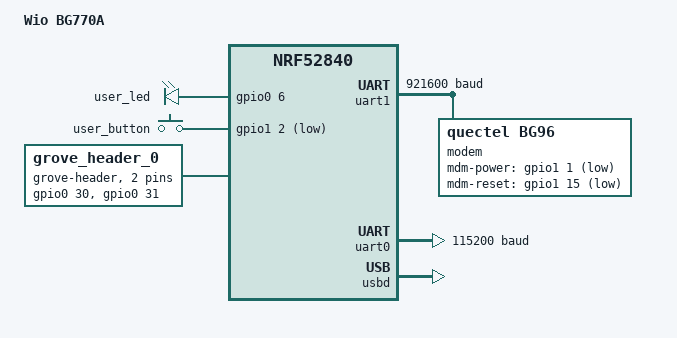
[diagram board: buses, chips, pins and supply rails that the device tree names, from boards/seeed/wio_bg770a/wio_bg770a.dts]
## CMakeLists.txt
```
#
# Copyright (c) 2018 Nordic Semiconductor
#
# SPDX-License-Identifier: LicenseRef-Nordic-5-Clause
#
cmake_minimum_required(VERSION 3.20.0)

# RFT: pick up application-local board definitions (e.g. seeed/wio_bg770a)
# AND the shared apps/v2/boards/ (e.g. rft/rft_pcb_v1_1 for running the
# receiver firmware on a tracker PCB) in addition to the ones shipped with
# Zephyr / NCS.
list(APPEND BOARD_ROOT ${CMAKE_CURRENT_SOURCE_DIR})
list(APPEND BOARD_ROOT ${CMAKE_CURRENT_SOURCE_DIR}/..)

find_package(Zephyr REQUIRED HINTS $ENV{ZEPHYR_BASE})
project(NONE)

FILE(GLOB_RECURSE app_sources src/*.c)
# NORDIC SDK APP START
target_sources(app PRIVATE ${app_sources})
# NORDIC SDK APP END

target_include_directories(app PRIVATE src)

# Force recompile for updated build timestamp
add_custom_target(touch_util_h ALL
    COMMAND ${CMAKE_COMMAND} -E touch ${CMAKE_SOURCE_DIR}/src/build_defines.h
)
```

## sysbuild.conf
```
# Sysbuild config for running the RECEIVER firmware on a tracker PCB
# (rft_pcb_v1_1). The tracker board already has MCUboot installed from a
# previous tracker firmware flash, so this build produces the matching
# `app_update.bin` so we can USB-update it in place via `update.command`
# without opening the case for SWD.
SB_CONFIG_BOOTLOADER_MCUBOOT=y
```

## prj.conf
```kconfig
#CONFIG_NCS_SAMPLES_DEFAULTS
CONFIG_ASSERT=y
CONFIG_ASSERT_NO_COND_INFO=y
CONFIG_ASSERT_NO_MSG_INFO=y
CONFIG_RESET_ON_FATAL_ERROR=y

CONFIG_NCS_APPLICATION_BOOT_BANNER_STRING="SlimeVR-Tracker-nRF-Receiver"
#CONFIG_NCS_BOOT_BANNER=n
CONFIG_BOOT_BANNER=n

CONFIG_ESB=y
CONFIG_NEWLIB_LIBC=y
CONFIG_CBPRINTF_FP_SUPPORT=y

CONFIG_FPU=y

CONFIG_USB_DEVICE_STACK=y
# NCS 3.3.0 enables USB_DEVICE_STACK_NEXT by default which collides with the
# legacy USB_DEVICE_STACK — explicitly disable the new stack.
CONFIG_USB_DEVICE_STACK_NEXT=n
CONFIG_USB_DEVICE_HID=y
CONFIG_USB_DEVICE_VID=0x1209
CONFIG_USB_DEVICE_PID=0x7690
CONFIG_USB_HID_BOOT_PROTOCOL=y
CONFIG_USB_DEVICE_INITIALIZE_AT_BOOT=n
CONFIG_USB_CDC_ACM=y
CONFIG_UART_INTERRUPT_DRIVEN=y
#CONFIG_USB_WORKQUEUE_STACK_SIZE=512

CONFIG_SERIAL=y
CONFIG_CONSOLE=y
CONFIG_UART_CONSOLE=y
CONFIG_UART_LINE_CTRL=y

CONFIG_USE_SEGGER_RTT=y
CONFIG_LOG=y
#CONFIG_PRINTK=y
CONFIG_LOG_MODE_DEFERRED=y
CONFIG_LOG_SPEED=y
CONFIG_LOG_BACKEND_RTT=y
CONFIG_USB_DRIVER_LOG_LEVEL_WRN=y
CONFIG_USB_DEVICE_LOG_LEVEL_WRN=y
CONFIG_USB_CDC_ACM_LOG_LEVEL_OFF=y
CONFIG_LOG_PROCESS_THREAD_SLEEP_MS=100
CONFIG_LOG_PROCESS_THREAD_STACK_SIZE=1024
CONFIG_LOG_PROCESS_THREAD_STARTUP_DELAY_MS=0

CONFIG_LOG_BACKEND_UART=y
CONFIG_LOG_MODE_DEFERRED=y

CONFIG_CONSOLE_SUBSYS=y
CONFIG_CONSOLE_GETLINE=y

CONFIG_NVS_LOG_LEVEL_WRN=y
CONFIG_USB_HID_LOG_LEVEL_WRN=y

CONFIG_USB_DEVICE_SOF=y
CONFIG_USB_HID_REPORTS=256

CONFIG_USB_HID_POLL_INTERVAL_MS=1
CONFIG_HID_INTERRUPT_EP_MPS=64
CONFIG_ENABLE_HID_INT_OUT_EP=y

CONFIG_GPIO=y
CONFIG_PWM=y

CONFIG_NVS=y

CONFIG_FLASH=y
CONFIG_FLASH_PAGE_LAYOUT=y
CONFIG_FLASH_MAP=y

CONFIG_SETTINGS=y
CONFIG_SETTINGS_NVS=y
CONFIG_SETTINGS_RUNTIME=y
CONFIG_SETTINGS_NONE=y

CONFIG_MPU_ALLOW_FLASH_WRITE=y

CONFIG_NVS_LOOKUP_CACHE=y

CONFIG_ESB_TX_FIFO_SIZE=1
# RFT: timer1 drives the periodic ESB sync (every ~3ms). Enabled via DT
# overlay (boards/xiao_ble.overlay → &timer1 { status = "okay"; }) — there
# is no NRFX_TIMER1 Kconfig in this NCS version.

#speed up boot? (use internal rc oscillator)
#CONFIG_CLOCK_CONTROL_NRF_K32SRC_RC=y
#speed up boot? (synthesize lf clock)
CONFIG_CLOCK_CONTROL_NRF_K32SRC_SYNTH=y

# dont need it
CONFIG_CRYPTO=n

CONFIG_THREAD_NAME=y
#CONFIG_SYSTEM_WORKQUEUE_STACK_SIZE=256
CONFIG_MAIN_STACK_SIZE=512

#CONFIG_HEAP_MEM_POOL_SIZE=2048
CONFIG_ISR_STACK_SIZE=1024
```

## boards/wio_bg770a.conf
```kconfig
# RFT: Wio BG770A board overrides for firmware-receiver.
#
# This board has TWO output paths for tracker packets:
#   1. USB HID composite device (SlimeVR-compatible) → Deck via hidapi.
#   2. LTE-M MQTT publish via BG770A-GL → Deck via tcxMQTT.
# Pick at runtime with the `modem on|off` console command.
# CDC ACM stays on for console / log during bench debugging regardless.

CONFIG_USB_DEVICE_MANUFACTURER="Seeed Studio"
CONFIG_USB_DEVICE_PRODUCT="RideFormTracker Receiver (Wio)"

# Inherit CONFIG_USB_DEVICE_HID=y from prj.conf — the HID forwarder is
# the modem-bypass measurement path. With USB CDC also enabled the device
# enumerates as a composite (HID + CDC ACM).

# RFT: Wio BG770A boot bisect (2026-05-11) — with CONFIG_ASSERT=y enabled
# on Wio (matsujirushi fork board defs), some internal __ASSERT fires
# before USB CDC enumerates, so we can't even see the message. Turn
# asserts off here; revisit once an SWD/RTT path is available.
CONFIG_ASSERT=n

# UART driver to BG770A-GL modem (uart1 is enabled by board DTS). The
# modem driver in src/connection/modem.c uses the async API. Without the
# explicit `CONFIG_UART_1_INTERRUPT_DRIVEN=n`, prj.conf's global
# CONFIG_UART_INTERRUPT_DRIVEN=y wins on the per-instance Kconfig and
# uart_callback_set() returns -ENOTSUP (-88).
CONFIG_UART_ASYNC_API=y
CONFIG_UART_1_INTERRUPT_DRIVEN=n
CONFIG_UART_1_ASYNC=y
# Allow runtime baud-rate changes on uart1. Needed for the auto-bootstrap
# that drops to 115200 (BG770A factory default) when a fresh modem doesn't
# answer at 921600, sets AT+IPR=921600;&W, and switches back. Without this
# uart_configure() returns -ENOSYS.
CONFIG_UART_USE_RUNTIME_CONFIGURE=y
```

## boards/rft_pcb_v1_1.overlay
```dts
/* RFT: second CDC ACM instance dedicated to packet forwarding (16-byte
 * SlimeVR HID-shape frames, back-to-back). The first instance is
 * cdc_acm_uart0 declared in the board DTS. Android hosts read packets
 * from this second endpoint (usb-serial-for-android — no clean USB HID
 * class path without root). Matches xiao_ble.overlay's cdc_acm_fwd node.
 */
&zephyr_udc0 {
	cdc_acm_fwd: cdc_acm_fwd {
		compatible = "zephyr,cdc-acm-uart";
	};
};
```

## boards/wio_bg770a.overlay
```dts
/*
 * RFT: Wio BG770A application overlay.
 *
 * - Disable Zephyr modem subsystem binding on uart1; we drive AT directly
 *   from src/connection/modem.c. Keeps uart1 itself enabled with HW flow
 *   control to BG770A-GL.
 * - Enable timer1 for the periodic ESB sync (esb.c).
 * - LED is via the board's `led0` GPIO alias; no PWM color LED on this
 *   board, so we only define `led-gpios` mirror for the led module's
 *   `zephyr,user` lookup path.
 */

&modem {
	status = "disabled";
};

&timer1 {
	status = "okay";
};

/ {
	zephyr,user {
		led-gpios = <&gpio0 6 GPIO_ACTIVE_HIGH>;

		/* RFT modem control lines, originally exposed by the disabled
		 * `&modem` node above. We drive AT directly so they live on
		 * zephyr,user instead of a Zephyr-modem-driver binding. */
		modem-power-gpios = <&gpio1 1 (GPIO_ACTIVE_LOW | GPIO_OPEN_DRAIN)>;
		modem-reset-gpios = <&gpio1 15 (GPIO_ACTIVE_LOW | GPIO_OPEN_DRAIN)>;
	};
};

&cryptocell {
	status = "disabled";
};

&nfct {
	status = "disabled";
};
```

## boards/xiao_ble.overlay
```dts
&pwm0_default {
	group1 {
		psels = <NRF_PSEL(PWM_OUT0, 0, 26)>,
			<NRF_PSEL(PWM_OUT1, 0, 30)>,
			<NRF_PSEL(PWM_OUT2, 0, 6)>;
		nordic,drive-mode = <NRF_DRIVE_D0S1>;
		nordic,invert;
	};
};

&pwm0_sleep {
	group1 {
		psels = <NRF_PSEL(PWM_OUT0, 0, 26)>,
			<NRF_PSEL(PWM_OUT1, 0, 30)>,
			<NRF_PSEL(PWM_OUT2, 0, 6)>;
	};
};

/ {
	pwmleds {
		pwm_led0: pwm_led_0 {
			pwms = <&pwm0 0 PWM_MSEC(1) PWM_POLARITY_INVERTED>;
		};
		pwm_led1: pwm_led_1 {
			pwms = <&pwm0 1 PWM_MSEC(1) PWM_POLARITY_INVERTED>;
		};
		pwm_led2: pwm_led_2 {
			pwms = <&pwm0 2 PWM_MSEC(1) PWM_POLARITY_INVERTED>;
		};
	};

	aliases {
		pwm-led1 = &pwm_led1;
		pwm-led2 = &pwm_led2;
	};

	zephyr,user {
		led-gpios = <&gpio0 17 (GPIO_OPEN_DRAIN|GPIO_ACTIVE_LOW)>;
	};

};

&cryptocell {
	status = "disabled";
};

&nfct {
	status = "disabled";
};

/* RFT: second CDC ACM instance dedicated to packet forwarding (16-byte
 * SlimeVR HID-shape frames, back-to-back). The first instance (console)
 * is provided by zephyr's cdc_acm_serial.dtsi as `board_cdc_acm_uart`.
 * Android hosts can read packets via usb-serial-for-android — there is
 * no clean USB HID class path without root. */
&zephyr_udc0 {
	cdc_acm_fwd: cdc_acm_fwd {
		compatible = "zephyr,cdc-acm-uart";
	};
};
```

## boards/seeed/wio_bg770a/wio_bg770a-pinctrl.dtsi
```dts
/*
 * Copyright (c) Seeed K.K.
 * SPDX-License-Identifier: Apache-2.0
 */

&pinctrl {
	uart1_default: uart1_default {
		group0 {
			psels = <NRF_PSEL(UART_RX, 0, 24)>,
				<NRF_PSEL(UART_TX, 0, 25)>,
				<NRF_PSEL(UART_CTS, 1, 26)>,
				<NRF_PSEL(UART_RTS, 0, 27)>;
		};
	};

	uart1_sleep: uart1_sleep {
		group0 {
			psels = <NRF_PSEL(UART_RX, 0, 24)>,
				<NRF_PSEL(UART_TX, 0, 25)>,
				<NRF_PSEL(UART_CTS, 1, 26)>,
				<NRF_PSEL(UART_RTS, 0, 27)>;

			low-power-enable;
		};
	};

	uart0_default: uart0_default {
		group0 {
			psels = <NRF_PSEL(UART_RX, 0, 13)>,
				<NRF_PSEL(UART_TX, 0, 14)>;
		};
	};

	uart0_sleep: uart0_sleep {
		group0 {
			psels = <NRF_PSEL(UART_RX, 0, 13)>,
				<NRF_PSEL(UART_TX, 0, 14)>;

			low-power-enable;
		};
	};
};
```

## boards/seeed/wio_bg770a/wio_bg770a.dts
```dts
/*
 * Copyright (c) Seeed K.K.
 * SPDX-License-Identifier: Apache-2.0
 */

/dts-v1/;
#include <nordic/nrf52840_qiaa.dtsi>
// RFT: partition dtsi is not in NCS sdk-zephyr; bundled alongside the board
// definition to avoid editing the upstream tree.
#include "nrf52840_partition_uf2_sdv7.dtsi"
#include "wio_bg770a-pinctrl.dtsi"

/ {
	model = "Wio BG770A";
	compatible = "seeed,wio-bg770a";

	aliases {
		led0 = &user_led;
		sw0 = &user_button;

		user-led = &user_led;
		user-button = &user_button;
	};

	leds {
		compatible = "gpio-leds";

		user_led: led0 {
			gpios = <&gpio0 6 GPIO_ACTIVE_HIGH>;
		};
	};

	buttons {
		compatible = "gpio-keys";

		user_button: button0 {
			gpios = <&gpio1 2 (GPIO_ACTIVE_LOW | GPIO_PULL_UP)>;
			zephyr,code = <INPUT_KEY_0>;
		};
	};
};

/ {
	grove_header_0: grove_header_0 {
		compatible = "grove-header";
		#gpio-cells = <2>;
		gpio-map-mask = <0xffffffff 0xffffff80>;
		gpio-map-pass-thru = <0 0x7f>;
		gpio-map = <0 0 &gpio0 30 0>,	/* D30 */
			   <1 0 &gpio0 31 0>;	/* D31 */
	};
};

&gpiote {
	status = "okay";
};

&gpio0 {
	status = "okay";
};

&gpio1 {
	status = "okay";
};

&uart1 {
	compatible = "nordic,nrf-uarte";
	status = "okay";
	/* 921600 with HW flow control: 8x the factory default, keeps headroom for
	 * batched MQTT publishes at higher tracker rates so the modem thread
	 * isn't blocked on UART when ESB busy-period steals CPU. The modem boots
	 * at 115200 from factory; firmware auto-detects and writes
	 * AT+IPR=921600;&W on first contact to make it stick. */
	current-speed = <921600>;
	hw-flow-control;
	pinctrl-0 = <&uart1_default>;
	pinctrl-1 = <&uart1_sleep>;
	pinctrl-names = "default", "sleep";

	modem: bg770a {
		compatible = "quectel,bg96";
		status = "okay";
		mdm-power-gpios = <&gpio1 1 (GPIO_ACTIVE_LOW | GPIO_OPEN_DRAIN)>;
		mdm-reset-gpios = <&gpio1 15 (GPIO_ACTIVE_LOW | GPIO_OPEN_DRAIN)>;
	};
};

grove_uart: &uart0 {
	compatible = "nordic,nrf-uarte";
	status = "okay";
	current-speed = <115200>;
	pinctrl-0 = <&uart0_default>;
	pinctrl-1 = <&uart0_sleep>;
	pinctrl-names = "default", "sleep";
};

zephyr_udc0: &usbd {
	compatible = "nordic,nrf-usbd";
	status = "okay";
};

#include <../boards/common/usb/cdc_acm_serial.dtsi>
```

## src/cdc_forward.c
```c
/*
 * RFT: CDC ACM packet forwarder.
 *
 * Streams the same 16-byte SlimeVR HID-shape packets that go to the USB
 * HID interface out a dedicated CDC ACM endpoint, back-to-back, with no
 * framing or length prefix. Lets an Android host read packets via
 * usb-serial-for-android — Android's USB host API has no clean HID class
 * driver path without root.
 *
 * Build-time gate: requires a DT node labelled `cdc_acm_fwd` of type
 * zephyr,cdc-acm-uart (see boards/xiao_ble.overlay). If the current
 * board overlay does not define it, this file compiles to stubs.
 *
 * SPDX-License-Identifier: MIT
 */

#include "globals.h"
#include "cdc_forward.h"

#define CDC_FORWARD_NODE DT_NODELABEL(cdc_acm_fwd)

#if DT_NODE_HAS_STATUS(CDC_FORWARD_NODE, okay)

#include <zephyr/kernel.h>
#include <zephyr/device.h>
#include <zephyr/drivers/uart.h>
#include <zephyr/sys/atomic.h>
#include <zephyr/sys/ring_buffer.h>

#include "system/system.h"

LOG_MODULE_REGISTER(cdc_fwd, LOG_LEVEL_INF);

/* NVS slot — high number, well clear of modem.h MDM_NVS_BASE (260..266). */
#define CDC_FWD_NVS_ENABLE  280

/* Stored encoding: 0=uninitialised (treat as default-on), 1=on, 2=off.
 * Keeps default-ON behaviour without paying the cost of writing on first
 * boot. */
#define CDC_FWD_STORED_ON   1
#define CDC_FWD_STORED_OFF  2

#define RING_BYTES  (16 * 64)  /* 64 frames of headroom */

RING_BUF_DECLARE(cdc_fwd_rb, RING_BYTES);

static const struct device *cdc_fwd_dev;
static atomic_t cdc_fwd_enabled = ATOMIC_INIT(1); /* default ON */
static atomic_t cdc_fwd_dtr     = ATOMIC_INIT(0);

static void cdc_fwd_uart_isr(const struct device *dev, void *user_data)
{
	ARG_UNUSED(user_data);

	while (uart_irq_update(dev) && uart_irq_is_pending(dev)) {
		/* Drain RX so a host that opened the port can't stall us. */
		if (uart_irq_rx_ready(dev)) {
			uint8_t scratch[32];
			(void)uart_fifo_read(dev, scratch, sizeof(scratch));
		}
		if (uart_irq_tx_ready(dev)) {
			uint8_t *buf;
			uint32_t claim = ring_buf_get_claim(&cdc_fwd_rb, &buf, 64);
			if (claim == 0) {
				uart_irq_tx_disable(dev);
				continue;
			}
			int sent = uart_fifo_fill(dev, buf, claim);
			if (sent < 0) sent = 0;
			ring_buf_get_finish(&cdc_fwd_rb, (uint32_t)sent);
			if (ring_buf_is_empty(&cdc_fwd_rb)) {
				uart_irq_tx_disable(dev);
			}
		}
	}
}

void cdc_forward_write_packet(const uint8_t *data)
{
	if (!atomic_get(&cdc_fwd_enabled)) return;
	if (!cdc_fwd_dev) return;
	if (!atomic_get(&cdc_fwd_dtr)) return; /* no host listening — drop */

	uint32_t put = ring_buf_put(&cdc_fwd_rb, data, 16);
	if (put != 16) {
		/* Backpressure: host isn't draining. Drop silently — the HID
		 * path stays authoritative. */
		return;
	}
	uart_irq_tx_enable(cdc_fwd_dev);
}

bool cdc_forward_is_enabled(void)
{
	return atomic_get(&cdc_fwd_enabled) != 0;
}

void cdc_forward_set_enabled(bool on)
{
	atomic_set(&cdc_fwd_enabled, on ? 1 : 0);
	uint8_t v = on ? CDC_FWD_STORED_ON : CDC_FWD_STORED_OFF;
	sys_write(CDC_FWD_NVS_ENABLE, NULL, &v, sizeof(v));
	if (!on && cdc_fwd_dev) {
		uart_irq_tx_disable(cdc_fwd_dev);
		ring_buf_reset(&cdc_fwd_rb);
	}
}

static void cdc_fwd_dtr_thread(void)
{
	/* Poll DTR so we don't fill the ring buffer when nothing is
	 * listening — keeps backpressure visible only when a real host is
	 * connected. */
	while (1) {
		if (cdc_fwd_dev) {
			uint32_t dtr = 0;
			(void)uart_line_ctrl_get(cdc_fwd_dev, UART_LINE_CTRL_DTR, &dtr);
			atomic_set(&cdc_fwd_dtr, dtr ? 1 : 0);
		}
		k_msleep(100);
	}
}

K_THREAD_DEFINE(cdc_fwd_dtr_tid, 512, cdc_fwd_dtr_thread, NULL, NULL, NULL,
		7, 0, 0);

static int cdc_forward_init(void)
{
	cdc_fwd_dev = DEVICE_DT_GET(CDC_FORWARD_NODE);
	if (!device_is_ready(cdc_fwd_dev)) {
		LOG_ERR("cdc_acm_fwd device not ready");
		cdc_fwd_dev = NULL;
		return -ENODEV;
	}

	uint8_t v = 0;
	sys_read(CDC_FWD_NVS_ENABLE, &v, sizeof(v));
	bool en = (v != CDC_FWD_STORED_OFF); /* default ON when uninitialised */
	atomic_set(&cdc_fwd_enabled, en ? 1 : 0);

	uart_irq_callback_set(cdc_fwd_dev, cdc_fwd_uart_isr);
	uart_irq_rx_enable(cdc_fwd_dev);

	LOG_INF("cdc_forward init: enabled=%d", (int)en);
	return 0;
}

SYS_INIT(cdc_forward_init, APPLICATION, CONFIG_KERNEL_INIT_PRIORITY_DEVICE);

#else /* CDC_FORWARD_NODE not enabled — stubs keep esb.c / hid.c linking. */

void cdc_forward_write_packet(const uint8_t *data) { (void)data; }
bool cdc_forward_is_enabled(void) { return false; }
void cdc_forward_set_enabled(bool on) { (void)on; }

#endif
```

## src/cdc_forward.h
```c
/*
 * RFT: CDC ACM packet forwarder API.
 *
 * Pumps the same 16-byte SlimeVR HID-shape packets through a CDC ACM
 * endpoint, for Android hosts that can't easily use USB HID.
 *
 * SPDX-License-Identifier: MIT
 */
#ifndef RFT_CDC_FORWARD_H
#define RFT_CDC_FORWARD_H

#include <stdbool.h>
#include <stdint.h>

#ifdef __cplusplus
extern "C" {
#endif

/* Queue one 16-byte packet for transmission on the forward CDC port.
 * Safe to call from any context. Drops if the host isn't asserting DTR,
 * forwarding is disabled, or the internal ring buffer is full. */
void cdc_forward_write_packet(const uint8_t *data);

bool cdc_forward_is_enabled(void);
void cdc_forward_set_enabled(bool on);

#ifdef __cplusplus
}
#endif

#endif /* RFT_CDC_FORWARD_H */
```

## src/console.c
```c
/*
	SlimeVR Code is placed under the MIT license
	Copyright (c) 2025 SlimeVR Contributors

	Permission is hereby granted, free of charge, to any person obtaining a copy
	of this software and associated documentation files (the "Software"), to deal
	in the Software without restriction, including without limitation the rights
	to use, copy, modify, merge, publish, distribute, sublicense, and/or sell
	copies of the Software, and to permit persons to whom the Software is
	furnished to do so, subject to the following conditions:

	The above copyright notice and this permission notice shall be included in
	all copies or substantial portions of the Software.

	THE SOFTWARE IS PROVIDED "AS IS", WITHOUT WARRANTY OF ANY KIND, EXPRESS OR
	IMPLIED, INCLUDING BUT NOT LIMITED TO THE WARRANTIES OF MERCHANTABILITY,
	FITNESS FOR A PARTICULAR PURPOSE AND NONINFRINGEMENT. IN NO EVENT SHALL THE
	AUTHORS OR COPYRIGHT HOLDERS BE LIABLE FOR ANY CLAIM, DAMAGES OR OTHER
	LIABILITY, WHETHER IN AN ACTION OF CONTRACT, TORT OR OTHERWISE, ARISING FROM,
	OUT OF OR IN CONNECTION WITH THE SOFTWARE OR THE USE OR OTHER DEALINGS IN
	THE SOFTWARE.
*/
#include "globals.h"
#include "system/system.h"
#include "build_defines.h"
#include "parse_args.h"
#include "connection/cmd_queue.h"
#include "connection/modem.h"
#include "cdc_forward.h"

#include <stdlib.h>  /* strtof */
#include <math.h>    /* roundf */

#define USB DT_NODELABEL(usbd)
#if DT_NODE_HAS_STATUS(USB, okay)

#include <zephyr/drivers/gpio.h>
#include <zephyr/console/console.h>
#include <zephyr/sys/reboot.h>
#include <zephyr/logging/log_ctrl.h>
#include "connection/esb.h"

#include <ctype.h>

#define DFU_DBL_RESET_MEM 0x20007F7C
#define DFU_DBL_RESET_APP 0x4ee5677e

uint32_t* dbl_reset_mem = ((uint32_t*) DFU_DBL_RESET_MEM);

LOG_MODULE_REGISTER(console, LOG_LEVEL_INF);

static void console_thread(void);
// RFT: 2048 (was 1024) — `modem at` nests console_thread -> modem_console_at
// (line[256]) -> at_send_line (buf[256]) plus a 160B rejoin buffer, which
// overran the 1024B stack and tripped the MPU guard (HW_STACK_PROTECTION),
// rebooting the board on every raw-AT command.
K_THREAD_DEFINE(console_thread_id, 2048, console_thread, NULL, NULL, NULL, 6, 0, 0);

#define DFU_EXISTS CONFIG_BUILD_OUTPUT_UF2 || CONFIG_BOARD_HAS_NRF5_BOOTLOADER
#define ADAFRUIT_BOOTLOADER CONFIG_BUILD_OUTPUT_UF2
#define NRF5_BOOTLOADER CONFIG_BOARD_HAS_NRF5_BOOTLOADER

#if NRF5_BOOTLOADER
static const struct device *gpio_dev = DEVICE_DT_GET(DT_NODELABEL(gpio0));
#endif

static const char *meows[] = {
	"Mew",
	"Meww",
	"Meow",
	"Meow meow",
	"Mrrrp",
	"Mrrf",
	"Mreow",
	"Mrrrow",
	"Mrrr",
	"Purr",
	"mew",
	"meww",
	"meow",
	"meow meow",
	"mrrrp",
	"mrrf",
	"mreow",
	"mrrrow",
	"mrrr",
	"purr",
};

static const char *meow_punctuations[] = {
	".",
	"?",
	"!",
	"-",
	"~",
	""
};

static const char *meow_suffixes[] = {
	" :3",
	" :3c",
	" ;3",
	" ;3c",
	" x3",
	" x3c",
	" X3",
	" X3c",
	" >:3",
	" >:3c",
	" >;3",
	" >;3c",
	""
};

static void skip_dfu(void)
{
#if DFU_EXISTS // Using Adafruit bootloader
	(*dbl_reset_mem) = DFU_DBL_RESET_APP; // Skip DFU
	ram_range_retain(dbl_reset_mem, sizeof(dbl_reset_mem), true);
#endif
}

static void print_info(void)
{
	printk(CONFIG_USB_DEVICE_MANUFACTURER " " CONFIG_USB_DEVICE_PRODUCT "\n");
	printk(FW_STRING);

	printk("\nBoard: " CONFIG_BOARD "\n");
	printk("SOC: " CONFIG_SOC "\n");
	printk("Target: " CONFIG_BOARD_TARGET "\n");

	printk("\nDevice address: %012llX\n", *(uint64_t *)NRF_FICR->DEVICEADDR & 0xFFFFFFFFFFFF);
}

static void print_uptime(void)
{
	int64_t uptime = k_ticks_to_us_floor64(k_uptime_ticks());

	uint32_t days = uptime / 86400000000;
	uptime %= 86400000000;
	uint8_t hours = uptime / 3600000000;
	uptime %= 3600000000;
	uint8_t minutes = uptime / 60000000;
	uptime %= 60000000;
	uint8_t seconds = uptime / 1000000;
	uptime %= 1000000;
	uint16_t milliseconds = uptime / 1000;
	uint16_t microseconds = uptime %= 1000;

	printk("Uptime: %u.%02u:%02u:%02u.%03u,%03u\n", days, hours, minutes, seconds, milliseconds, microseconds);
}

static void print_meow(void)
{
	int64_t ticks = k_uptime_ticks();

	ticks %= ARRAY_SIZE(meows) * ARRAY_SIZE(meow_punctuations) * ARRAY_SIZE(meow_suffixes); // silly number generator
	uint8_t meow = ticks / (ARRAY_SIZE(meow_punctuations) * ARRAY_SIZE(meow_suffixes));
	ticks %= (ARRAY_SIZE(meow_punctuations) * ARRAY_SIZE(meow_suffixes));
	uint8_t punctuation = ticks / ARRAY_SIZE(meow_suffixes);
	uint8_t suffix = ticks % ARRAY_SIZE(meow_suffixes);

	printk("%s%s%s\n", meows[meow], meow_punctuations[punctuation], meow_suffixes[suffix]);
}

static void print_list(void)
{
	printk("Stored devices:\n");
	for (uint8_t i = 0; i < stored_trackers; i++)
		printk("%012llX\n", stored_tracker_addr[i]);
}

static inline void strtolower(char *str) {
	for(int i = 0; str[i]; i++) {
		str[i] = tolower(str[i]);
	}
}

/* RFT: enqueue a mag-cal command for one tracker (or all). Returns count of
 * trackers the command was queued for, or -1 on bad input. */
static int rft_enqueue_for(const char *id_str, const rft_cmd_t *cmd)
{
	if (id_str == NULL) return -1;
	if (strcmp(id_str, "all") == 0) {
		int n = 0;
		for (uint8_t i = 0; i < stored_trackers; i++)
			if (rft_cmd_push(i, cmd)) n++;
		return n;
	}
	int id = (int)parse_i32(id_str, 10);
	if (id < 0 || id >= stored_trackers) return -1;
	return rft_cmd_push((uint8_t)id, cmd) ? 1 : 0;
}

static void print_help(void)
{
	printk("\nhelp                         Display this help text\n");

	printk("\ninfo                         Get device information\n");
	printk("uptime                       Get device uptime\n");
	printk("list                         Get paired devices\n");
	printk("reboot                       Soft reset the device\n");
	printk("\nadd <address>                Manually add a device\n");
	printk("remove                       Remove last device\n");
	printk("pair                         Enter pairing mode\n");
	printk("exit                         Exit pairing mode\n");
	printk("clear                        Clear stored devices\n");
	printk("\nset_mag_bias <id|all> <x> <y> <z>  Set mag bias (Gauss) on tracker\n");
	printk("clear_mag_bias <id|all>      Clear mag bias on tracker (NVS too)\n");
	printk("mag_recal <id|all>           Reset mag cal RAM state (NVS bias kept)\n");
	printk("mag_stream <0|1>             Toggle raw-mag streaming on ALL paired trackers\n");
	printk("rate <id|all> <Hz>           Cap tracker TX rate (RAM only, 0=default)\n");
	printk("enable_cdc_forward <0|1>     Toggle CDC packet forwarding (persisted, default ON)\n");
	printk("\nmodem status                 Show modem state and MQTT settings\n");
	printk("modem on | off               Enable / disable LTE MQTT publish (USB HID stays on)\n");
	printk("modem start | stop           Aliases of on/off\n");
	printk("modem at <command>           Raw AT passthrough (debug)\n");
	printk("modem apn <name>             Set APN (NVS)\n");
	printk("modem broker <host> <port>   Set MQTT broker (NVS)\n");
	printk("modem client <id>            Set MQTT client id (NVS)\n");
	printk("modem topic <topic>          Set MQTT publish topic (NVS)\n");
	printk("modem user <user>            Set MQTT username (empty clears)\n");
	printk("modem pass <pass>            Set MQTT password (empty clears)\n");
#if DFU_EXISTS
	printk("\ndfu                          Enter DFU bootloader\n");
#endif
	printk("\nmeow                         Meow!\n");
}

static void console_thread(void)
{
	console_getline_init();
	while (log_data_pending())
		k_usleep(1);
	k_msleep(100);
	printk("*** " CONFIG_USB_DEVICE_MANUFACTURER " " CONFIG_USB_DEVICE_PRODUCT " ***\n");
	printk(FW_STRING);
	print_help();

	const char command_help[] = "help";

	const char command_info[] = "info";
	const char command_uptime[] = "uptime";
	const char command_list[] = "list";
	const char command_reboot[] = "reboot";
	const char command_add[] = "add";
	const char command_remove[] = "remove";
	const char command_pair[] = "pair";
	const char command_exit[] = "exit";
	const char command_clear[] = "clear";
#if DFU_EXISTS
	const char command_dfu[] = "dfu";
#endif
	const char command_meow[] = "meow";

	while (1) {
		char *line = console_getline();

		char* argv[6] = {NULL}; // command and 5 args (e.g. set_mag_bias <id> <x> <y> <z>)
		size_t argc = parse_args(line, argv, ARRAY_SIZE(argv));
		if(argc == 0)
			continue;
		if(argc > 0)
			strtolower(argv[0]); // lower case the command
		if(argc > 1)
			strtolower(argv[1]); // lower case the first argument
		// only care that the first words are matchable

		if (strcmp(argv[0], command_help) == 0)
		{
			print_help();
		}
		else if (strcmp(argv[0], command_info) == 0)
		{
			print_info();
		}
		else if (strcmp(line, command_uptime) == 0)
		{
			print_uptime();
		}
		else if (strcmp(line, command_add) == 0)
		{
			if (argc != 2)
			{
				printk("Invalid number of arguments\n");
				continue;
			}
			uint64_t addr = parse_u64(argv[1], 16);
			uint8_t buf[13];
			snprintk(buf, 13, "%012llx", addr);
			if (addr != 0 && strcmp(buf, argv[1]) == 0)
				esb_add_pair(addr, true);
			else
				printk("Invalid address\n");
		}
		else if (strcmp(line, command_remove) == 0)
		{
			esb_pop_pair();
		}
		else if (strcmp(line, command_list) == 0)
		{
			print_list();
		}
		else if (strcmp(line, command_reboot) == 0)
		{
			skip_dfu();
			sys_reboot(SYS_REBOOT_COLD);
		}
		else if (strcmp(line, command_pair) == 0)
		{
			esb_reset_pair();
		}
		else if (strcmp(line, command_exit) == 0)
		{
			esb_finish_pair();
		}
		else if (strcmp(line, command_clear) == 0)
		{
			esb_clear();
		}
#if DFU_EXISTS
		else if (strcmp(line, command_dfu) == 0)
		{
#if ADAFRUIT_BOOTLOADER
			NRF_POWER->GPREGRET = 0x57;
			sys_reboot(SYS_REBOOT_COLD);
#endif
#if NRF5_BOOTLOADER
			gpio_pin_configure(gpio_dev, 19, GPIO_OUTPUT | GPIO_OUTPUT_INIT_LOW);
#endif
		}
#endif
		else if (strcmp(line, command_meow) == 0)
		{
			print_meow();
		}
		else if (strcmp(argv[0], "set_mag_bias") == 0)
		{
			if (argc != 5) { printk("Usage: set_mag_bias <id|all> <x> <y> <z>\n"); continue; }
			float x = strtof(argv[2], NULL);
			float y = strtof(argv[3], NULL);
			float z = strtof(argv[4], NULL);
			/* Q11 fixed: 1.0G = 2048, range ±16G */
			int16_t qx = (int16_t)roundf(x * 2048.0f);
			int16_t qy = (int16_t)roundf(y * 2048.0f);
			int16_t qz = (int16_t)roundf(z * 2048.0f);
			rft_cmd_t cmd = { .type = RFT_CMD_SET_MAG_BIAS };
			memcpy(&cmd.data[0], &qx, 2);
			memcpy(&cmd.data[2], &qy, 2);
			memcpy(&cmd.data[4], &qz, 2);
			int n = rft_enqueue_for(argv[1], &cmd);
			if (n < 0) printk("Bad target id\n");
			else printk("Queued set_mag_bias for %d tracker(s)\n", n);
		}
		else if (strcmp(argv[0], "clear_mag_bias") == 0)
		{
			if (argc != 2) { printk("Usage: clear_mag_bias <id|all>\n"); continue; }
			rft_cmd_t cmd = { .type = RFT_CMD_CLEAR_MAG_BIAS };
			int n = rft_enqueue_for(argv[1], &cmd);
			if (n < 0) printk("Bad target id\n");
			else printk("Queued clear_mag_bias for %d tracker(s)\n", n);
		}
		else if (strcmp(argv[0], "mag_recal") == 0)
		{
			if (argc != 2) { printk("Usage: mag_recal <id|all>\n"); continue; }
			rft_cmd_t cmd = { .type = RFT_CMD_MAG_RECAL };
			int n = rft_enqueue_for(argv[1], &cmd);
			if (n < 0) printk("Bad target id\n");
			else printk("Queued mag_recal for %d tracker(s)\n", n);
		}
		else if (strcmp(argv[0], "mag_stream") == 0)
		{
			/* Global flag — every paired tracker streams in lock-step,
			 * no targeting. The flag rides every sync packet so all
			 * trackers see the new state within ~20 ms. */
			if (argc != 2) { printk("Usage: mag_stream <0|1>\n"); continue; }
			int onoff = (int)parse_i32(argv[1], 10);
			if (onoff != 0 && onoff != 1) { printk("Bad on/off (use 0 or 1)\n"); continue; }
			rft_set_global_flag(RFT_FLAG_STREAM_RAW_MAG, onoff != 0);
			printk("mag_stream=%d (broadcast to all)\n", onoff);
		}
		else if (strcmp(argv[0], "rate") == 0)
		{
			/* RFT: cap a tracker's TX rate (RAM only, reverts on power
			 * cycle). 0 means "back to firmware default". */
			if (argc != 3) { printk("Usage: rate <id|all> <Hz 0-255>\n"); continue; }
			int hz = (int)parse_i32(argv[2], 10);
			if (hz < 0 || hz > 255) { printk("Hz out of range (0-255)\n"); continue; }
			rft_cmd_t cmd = { .type = RFT_CMD_SET_MAX_RATE_HZ };
			cmd.data[0] = (uint8_t)hz;
			int n = rft_enqueue_for(argv[1], &cmd);
			if (n < 0) printk("Bad target id\n");
			else printk("Queued rate=%dHz for %d tracker(s)\n", hz, n);
		}
		else if (strcmp(argv[0], "enable_cdc_forward") == 0)
		{
			/* RFT: toggle the CDC ACM packet forwarder. Default ON,
			 * persisted to NVS — the new CDC port is invisible to
			 * hosts that don't open it, so leaving it on costs
			 * nothing on Mac (HID consumer) builds. */
			if (argc != 2) {
				printk("Usage: enable_cdc_forward <0|1>\n");
				printk("(current: %d)\n", (int)cdc_forward_is_enabled());
				continue;
			}
			int onoff = (int)parse_i32(argv[1], 10);
			if (onoff != 0 && onoff != 1) {
				printk("Bad on/off (use 0 or 1)\n");
				continue;
			}
			cdc_forward_set_enabled(onoff != 0);
			printk("enable_cdc_forward=%d\n", onoff);
		}
		else if (strcmp(argv[0], "modem") == 0)
		{
			/* RFT: BG770A modem control (wio_bg770a board only — stubs
			 * elsewhere). Subcommands mirror QMTOPEN/QMTCONN params. */
			if (argc < 2) {
				printk("Usage: modem status|on|off|start|stop|at|apn|broker|client|topic|user|pass|pace|ptmo ...\n");
				continue;
			}
			strtolower(argv[1]);
			if (strcmp(argv[1], "status") == 0) {
				modem_console_status();
			} else if (strcmp(argv[1], "start") == 0 || strcmp(argv[1], "on") == 0) {
				modem_request_start();
				printk("modem on — LTE attach starting (USB HID continues in parallel)\n");
			} else if (strcmp(argv[1], "stop") == 0 || strcmp(argv[1], "off") == 0) {
				modem_request_stop();
				printk("modem off — USB HID only\n");
			} else if (strcmp(argv[1], "at") == 0) {
				if (argc < 3) { printk("Usage: modem at <cmd>\n"); continue; }
				/* Re-join argv[2..] in case the user typed spaces. */
				char buf[160] = {0};
				for (int i = 2; i < (int)argc; i++) {
					strncat(buf, argv[i], sizeof(buf) - strlen(buf) - 1);
					if (i + 1 < (int)argc) strncat(buf, " ", sizeof(buf) - strlen(buf) - 1);
				}
				modem_console_at(buf);
			} else if (strcmp(argv[1], "apn") == 0) {
				modem_console_set_apn(argc >= 3 ? argv[2] : "");
				printk("apn set\n");
			} else if (strcmp(argv[1], "broker") == 0) {
				if (argc < 4) { printk("Usage: modem broker <host> <port>\n"); continue; }
				int port = (int)parse_i32(argv[3], 10);
				modem_console_set_broker(argv[2], (uint16_t)port);
				printk("broker set\n");
			} else if (strcmp(argv[1], "client") == 0) {
				modem_console_set_client(argc >= 3 ? argv[2] : "");
				printk("client set\n");
			} else if (strcmp(argv[1], "topic") == 0) {
				modem_console_set_topic(argc >= 3 ? argv[2] : "");
				printk("topic set\n");
			} else if (strcmp(argv[1], "user") == 0) {
				modem_console_set_user(argc >= 3 ? argv[2] : "");
				printk("user set\n");
			} else if (strcmp(argv[1], "pass") == 0) {
				modem_console_set_pass(argc >= 3 ? argv[2] : "");
				printk("pass set\n");
			} else if (strcmp(argv[1], "pace") == 0) {
				if (argc >= 3) modem_set_pace((int)parse_i32(argv[2], 10));
				printk("pace = %d ms\n", modem_get_pace());
			} else if (strcmp(argv[1], "ptmo") == 0) {
				if (argc >= 3) modem_set_ptmo((int)parse_i32(argv[2], 10));
				printk("ptmo = %d ms\n", modem_get_ptmo());
			} else {
				printk("Unknown modem subcommand\n");
			}
		}
		else
		{
			printk("Unknown command\n");
		}
	}
}

#endif
```

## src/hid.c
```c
/*
	SlimeVR Code is placed under the MIT license
	Copyright (c) 2025 SlimeVR Contributors

	Permission is hereby granted, free of charge, to any person obtaining a copy
	of this software and associated documentation files (the "Software"), to deal
	in the Software without restriction, including without limitation the rights
	to use, copy, modify, merge, publish, distribute, sublicense, and/or sell
	copies of the Software, and to permit persons to whom the Software is
	furnished to do so, subject to the following conditions:

	The above copyright notice and this permission notice shall be included in
	all copies or substantial portions of the Software.

	THE SOFTWARE IS PROVIDED "AS IS", WITHOUT WARRANTY OF ANY KIND, EXPRESS OR
	IMPLIED, INCLUDING BUT NOT LIMITED TO THE WARRANTIES OF MERCHANTABILITY,
	FITNESS FOR A PARTICULAR PURPOSE AND NONINFRINGEMENT. IN NO EVENT SHALL THE
	AUTHORS OR COPYRIGHT HOLDERS BE LIABLE FOR ANY CLAIM, DAMAGES OR OTHER
	LIABILITY, WHETHER IN AN ACTION OF CONTRACT, TORT OR OTHERWISE, ARISING FROM,
	OUT OF OR IN CONNECTION WITH THE SOFTWARE OR THE USE OR OTHER DEALINGS IN
	THE SOFTWARE.
*/
#include "globals.h"
#include "hid.h"
#include "cdc_forward.h"

#if IS_ENABLED(CONFIG_USB_DEVICE_HID)

#include <zephyr/kernel.h>
#include <zephyr/usb/usb_device.h>
#include <zephyr/usb/class/usb_hid.h>

static struct k_work report_send;
static struct k_work report_read;

static struct tracker_report {
	uint8_t data[16];
} __packed report = {
	.data = {0}
};;

struct tracker_report reports[MAX_TRACKERS];
atomic_t report_write_index = 0;
atomic_t report_read_index = 0;
// read_index == write_index -> empty fifo
// (write_index + 1) % MAX_TRACKERS == read_index -> full fifo

static bool configured;
static const struct device *hdev;
static ATOMIC_DEFINE(hid_ep_in_busy, 1);
static ATOMIC_DEFINE(hid_ep_out_busy, 1);

#define HID_EP_BUSY_FLAG	0
#define REPORT_PERIOD		K_MSEC(1) // streaming reports // TODO: could it be shorter/reduce latency?
#define POLL_PERIOD		K_MSEC(1) // streaming reports // TODO: could it be shorter/reduce latency?
#define HID_EP_REPORT_COUNT 4

struct tracker_report ep_report_buffer[HID_EP_REPORT_COUNT];
uint8_t ep_read_buffer[256]; // TODO: no struct // TODO: is possible to read >64 bytes, e.g. a delayed read?

LOG_MODULE_REGISTER(hid_event, LOG_LEVEL_INF);

static void report_event_handler(struct k_timer *dummy);
static K_TIMER_DEFINE(event_timer, report_event_handler, NULL);

static void report_read_handler(struct k_timer *dummy);
static K_TIMER_DEFINE(read_timer, report_read_handler, NULL);

static const uint8_t hid_report_desc[] = {
	HID_USAGE_PAGE(HID_USAGE_GEN_DESKTOP),
	HID_USAGE(HID_USAGE_GEN_DESKTOP_UNDEFINED),
	HID_COLLECTION(HID_COLLECTION_APPLICATION),
		HID_USAGE(HID_USAGE_GEN_DESKTOP_UNDEFINED),
		HID_REPORT_SIZE(8),
		HID_REPORT_COUNT(64),
		HID_INPUT(0x02),
		HID_USAGE(HID_USAGE_GEN_DESKTOP_UNDEFINED),
		HID_REPORT_SIZE(8),
		HID_REPORT_COUNT(64),
		HID_OUTPUT(0x02),
	HID_END_COLLECTION,
};

uint16_t sent_device_addr = 0;
bool usb_enabled = false;
int64_t last_registration_sent = 0;

//|type    |description
//|TX   255|receiver packet 0, associate id and tracker address
//|TX   254|device list hash, round trip ping
//|TX   253|receiver status (TODO: send number of pairing requests found?)
//|TX   252|device pairing request, id is the id of the pairing request in case of multiple, not final tracker id (TODO: these can timeout if not sent often? can server automatically accept if the address was known?)
//|RX   255|round trip response
//|RX   254|command (TODO: include parameters?)

//|b0      |b1      |b2      |b3      |b4      |b5      |b6      |b7      |b8      |b9      |b10     |b11     |b12     |b13     |b14     |b15     |
//|type    |data                                                                                                                                  |
//|TX   255|id      |device_addr                                          |resv-------------------------------------------------------------------|
//|TX   254|stored  |crc                                |latency          |resv-------------------------------------------------------------------|
//|TX   253|status  |resv-------------------------------------------------|resv-------------------------------------------------------------------|
//|TX   252|id      |device_addr                                          |resv-------------------------------------------------------------------|
//|RX   255|resv----------------------------------------------------------|resv-------------------------------------------------------------------|
//|RX   254|command |resv-------------------------------------------------|resv-------------------------------------------------------------------|

// TODO: implement this

static void packet_device_addr(uint8_t *report, uint16_t id) // associate id and tracker address
{
	report[0] = 255; // receiver packet 0
	report[1] = id;
	memcpy(&report[2], &stored_tracker_addr[id], 6);
	memset(&report[8], 0, 8); // last 8 bytes unused for now
}

static uint32_t dropped_reports = 0;
static uint16_t max_dropped_reports = 0;

static void send_report(struct k_work *work)
{
	if (!usb_enabled) return;
	if (!stored_trackers) return;

	// Get current FIFO status atomically
	size_t write_idx = (size_t)atomic_get(&report_write_index);
	size_t read_idx = (size_t)atomic_get(&report_read_index);

	if (write_idx == read_idx && k_uptime_get() - 100 < last_registration_sent) {
		return; // send registrations only every 100ms
	}

	int ret, wrote;

	last_registration_sent = k_uptime_get();

	if (!atomic_test_and_set_bit(hid_ep_in_busy, HID_EP_BUSY_FLAG)) {
		// Calculate how many reports we have available
		int available_reports = write_idx - read_idx;
		if (available_reports < 0) available_reports += MAX_TRACKERS;
		size_t reports_to_send = (size_t)((available_reports > HID_EP_REPORT_COUNT) ? HID_EP_REPORT_COUNT : available_reports);

		int epind;
		// Copy existing data to buffer
		for (epind = 0; epind < reports_to_send; epind++) {
			ep_report_buffer[epind] = reports[read_idx];
			read_idx++;
			if (read_idx == MAX_TRACKERS) read_idx = 0;
			atomic_set(&report_read_index, read_idx);
		}

		// Pad remaining report slots with device addr
		for (; epind < HID_EP_REPORT_COUNT; epind++) {
			if (stored_trackers > 0) {
				packet_device_addr(ep_report_buffer[epind].data, sent_device_addr);
				sent_device_addr = (sent_device_addr + 1) % stored_trackers;
			}
		}

		ret = hid_int_ep_write(hdev, (uint8_t *)ep_report_buffer, sizeof(report) * HID_EP_REPORT_COUNT, &wrote);

		if (ret != 0) {
			/*
			 * Do nothing and wait until host has reset the device
			 * and hid_ep_in_busy is cleared.
			 */
			LOG_ERR("Failed to submit report");
		} else {
			//LOG_DBG("Report submitted");
		}
	} else { // busy with what
		//LOG_DBG("HID IN endpoint busy");
	}
}

#define DROPPED_REPORT_LOG_INTERVAL 5000

static void hid_dropped_reports_logging(void)
{
	while (1) {
		if (dropped_reports) LOG_INF("Dropped reports: %u (max: %u)", dropped_reports, max_dropped_reports);
		dropped_reports = 0;
		max_dropped_reports = 0;
		k_msleep(DROPPED_REPORT_LOG_INTERVAL);
	}
}

K_THREAD_DEFINE(hid_dropped_reports_logging_thread, 256, hid_dropped_reports_logging, NULL, NULL, NULL, 6, 0, 0);

static void read_report(struct k_work *work)
{
	if (!usb_enabled) return;

	int ret, read;

	if (!atomic_test_and_set_bit(hid_ep_out_busy, HID_EP_BUSY_FLAG)) {
		ret = hid_int_ep_read(hdev, (uint8_t *)ep_read_buffer, sizeof(ep_read_buffer), &read);

		if (ret != 0) {
			LOG_ERR("hid_int_ep_read: %d", ret);
		} else {
			LOG_INF("hid_int_ep_read: %d", read);
			// do something here
			LOG_INF("%016llX%016llX%016llX%016llX%016llX%016llX%016llX%016llX",
				*(uint64_t *)(ep_read_buffer + 56),
				*(uint64_t *)(ep_read_buffer + 48),
				*(uint64_t *)(ep_read_buffer + 40),
				*(uint64_t *)(ep_read_buffer + 32),
				*(uint64_t *)(ep_read_buffer + 24),
				*(uint64_t *)(ep_read_buffer + 16),
				*(uint64_t *)(ep_read_buffer + 8),
				*(uint64_t *)ep_read_buffer
			);
		}
	} else { // busy with what
		//LOG_DBG("HID OUT endpoint busy");
	}
}

static void int_in_ready_cb(const struct device *dev)
{
	ARG_UNUSED(dev);
	if (!atomic_test_and_clear_bit(hid_ep_in_busy, HID_EP_BUSY_FLAG)) {
		LOG_WRN("IN endpoint callback without preceding buffer write");
	}
	// TODO: can probably immediately write report from here
}

static void int_out_ready_cb(const struct device *dev)
{
	ARG_UNUSED(dev);
	if (!atomic_test_and_clear_bit(hid_ep_out_busy, HID_EP_BUSY_FLAG)) {
		LOG_WRN("OUT endpoint callback without preceding buffer write");
	}
	// TODO: can probably immediately read report from here
}

/*
 * On Idle callback is available here as an example even if actual use is
 * very limited. In contrast to report_event_handler(),
 * report value is not incremented here.
 */
static void on_idle_cb(const struct device *dev, uint16_t report_id)
{
	LOG_DBG("On idle callback");
	k_work_submit(&report_send);
}

static void report_event_handler(struct k_timer *dummy)
{
	if (usb_enabled)
		k_work_submit(&report_send);
}

static void report_read_handler(struct k_timer *dummy)
{
	if (usb_enabled)
		k_work_submit(&report_read);
}

static void protocol_cb(const struct device *dev, uint8_t protocol)
{
	LOG_INF("New protocol: %s", protocol == HID_PROTOCOL_BOOT ?
		"boot" : "report");
}

static const struct hid_ops ops = {
	.int_in_ready = int_in_ready_cb,
	.int_out_ready = int_out_ready_cb,
	.on_idle = on_idle_cb,
	.protocol_change = protocol_cb,
};

static void status_cb(enum usb_dc_status_code status, const uint8_t *param)
{
	switch (status) {
	case USB_DC_RESET:
		configured = false;
		break;
	case USB_DC_CONFIGURED:
		int configurationIndex = *param;
		if(configurationIndex == 0) {
			// from usb_device.c: A configuration index of 0 unconfigures the device.
			configured = false;
		} else {
			if (!configured) {
				int_in_ready_cb(hdev);
				configured = true;
			}
		}
		break;
	case USB_DC_SOF:
		break;
	default:
		LOG_DBG("status %u unhandled", status);
		break;
	}
}

static int composite_pre_init()
{
	hdev = device_get_binding("HID_0");
	if (hdev == NULL) {
		LOG_ERR("Cannot get USB HID Device");
		return -ENODEV;
	}

	LOG_INF("HID Device: dev %p", hdev);

	usb_hid_register_device(hdev, hid_report_desc, sizeof(hid_report_desc),
				&ops);

	atomic_set_bit(hid_ep_in_busy, HID_EP_BUSY_FLAG);
	k_timer_start(&event_timer, REPORT_PERIOD, REPORT_PERIOD);

	atomic_set_bit(hid_ep_out_busy, HID_EP_BUSY_FLAG);
	k_timer_start(&read_timer, POLL_PERIOD, POLL_PERIOD);

	if (usb_hid_set_proto_code(hdev, HID_BOOT_IFACE_CODE_NONE)) {
		LOG_WRN("Failed to set Protocol Code");
	}

	return usb_hid_init(hdev);
}

SYS_INIT(composite_pre_init, APPLICATION, CONFIG_KERNEL_INIT_PRIORITY_DEVICE);

void usb_init_thread(void)
{
	usb_enable(status_cb);
	k_work_init(&report_send, send_report);
	k_work_init(&report_read, read_report);
	usb_enabled = true;
}

K_THREAD_DEFINE(usb_init_thread_id, 256, usb_init_thread, NULL, NULL, NULL, 6, 0, 0);

//|type    |description
//|RX     0|device info ("info")
//|RX     1|full precision quat and accel
//|RX     2|reduced precision quat and accel with battery, temp, and rssi ("info")
//|RX     3|status ("status")
//|RX     4|full precision quat and magnetometer
//|RX     5|runtime ("status2")
//|RX     6|reduced precision quat and accel with button and sleep time ("info2")
//|RX     7|button and sleep time ("info2")

//|b0      |b1      |b2      |b3      |b4      |b5      |b6      |b7      |b8      |b9      |b10     |b11     |b12     |b13     |b14     |b15     |
//|type    |id      |packet data                                                                                                                  |
//|RX     0|id      |batt    |batt_v  |temp    |brd_id  |mcu_id  |resv----|imu_id  |mag_id  |fw_date          |major   |minor   |patch   |rssi    |
//|RX     1|id      |q0               |q1               |q2               |q3               |a0               |a1               |a2               |
//|RX     2|id      |batt    |batt_v  |temp    |q_buf                              |a0               |a1               |a2               |rssi    |
//|RX     3|id      |svr_stat|status  |resv----------------------------------------------------------------------------------------------|rssi    |
//|RX     4|id      |q0               |q1               |q2               |q3               |m0               |m1               |m2               |
//|RX     5|id      |runtime                                                                |resv----------------------------------------|rssi    |
//|RX     6|id      |button  |sleeptime        |resv-------------------------------------------------------------------------------------|rssi    |
//|RX     7|id      |button  |sleeptime        |q_buf                              |a0               |a1               |a2               |rssi    |

// runtime is in microseconds (overkill), sleeptime is in milliseconds (overkill but less)

void hid_write_packet_n(uint8_t *data, uint8_t rssi)
{
	memcpy(&report.data, data, sizeof(report)); // all data can be passed through
	// Packet 1 and 4 are full precision quat+accel/mag, no room for rssi.
	// RFT pkt 9 carries mag_axes_mode in byte 15 — preserve it. RSSI for
	// pkt 9 isn't useful (the diagnostic stream is already gated by pkt 4
	// which has its own signal-quality semantics).
	if (data[0] != 1 && data[0] != 4 && data[0] != 9)
		report.data[15] = rssi;
	/* RFT: mirror the packet out the CDC ACM forward port (no-op stub on
	 * boards without a `cdc_acm_fwd` DT node). Done before the FIFO push
	 * so both paths see exactly the same 16 bytes. */
	cdc_forward_write_packet(report.data);
	// Get current FIFO status atomically
	size_t write_idx = (size_t)atomic_get(&report_write_index);
	size_t read_idx = (size_t)atomic_get(&report_read_index);

	// Try to replace existing entry for the same tracker first
	if (write_idx != read_idx) {
		// Start from read point + 1 to avoid hitting the entry being used
		size_t check_index = read_idx + 1;
		if (check_index == MAX_TRACKERS) check_index = 0;

		while (check_index != write_idx) {
			if (reports[check_index].data[1] == data[1]) {
				// Replace existing entry
				reports[check_index] = report;
				return;
			}
			check_index = check_index + 1;
			if (check_index == MAX_TRACKERS) check_index = 0;
		}
	}
	if (write_idx + 1 == read_idx || (write_idx == MAX_TRACKERS-1 && read_idx == 0)) { // overflow
		dropped_reports ++;
		return;
	}
	// Write new packet into FIFO
	reports[write_idx] = report;

	// Update write index atomically
	write_idx ++;
	if (write_idx == MAX_TRACKERS) write_idx = 0;
	atomic_set(&report_write_index, write_idx);
}

#else /* !CONFIG_USB_DEVICE_HID */

// RFT: Wio BG770A and other LTE-only builds drop the HID interface. esb.c
// still calls hid_write_packet_n unconditionally; provide a no-op so the link
// succeeds. The LTE forwarder hooks the same packet stream via its own
// callback (see src/connection/modem.c).
void hid_write_packet_n(uint8_t *data, uint8_t rssi)
{
	(void)rssi;
	/* RFT: even on HID-less builds the CDC forward port can be active,
	 * so mirror the packet through. cdc_forward itself is a stub when
	 * the DT node is absent. */
	cdc_forward_write_packet(data);
}

#endif /* CONFIG_USB_DEVICE_HID */
```

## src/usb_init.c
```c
/*
 * RFT: bring USB CDC ACM up on builds where HID is disabled.
 *
 * On the XIAO/dongle builds, hid.c::usb_init_thread is what eventually
 * calls usb_enable(). When HID is compiled out (Wio BG770A LTE build),
 * nothing else does — and CDC ACM never enumerates. This thread fills
 * that gap.
 *
 * SPDX-License-Identifier: MIT
 */
#include "globals.h"

#if !IS_ENABLED(CONFIG_USB_DEVICE_HID)

#include <zephyr/kernel.h>
#include <zephyr/usb/usb_device.h>

LOG_MODULE_REGISTER(usb_init, LOG_LEVEL_INF);

static void rft_usb_init(void)
{
	int ret = usb_enable(NULL);
	if (ret != 0 && ret != -EALREADY) {
		LOG_ERR("usb_enable: %d", ret);
	}
}
K_THREAD_DEFINE(rft_usb_init_tid, 1024, rft_usb_init, NULL, NULL, NULL,
		7, 0, 0);

#endif /* !CONFIG_USB_DEVICE_HID */
```
